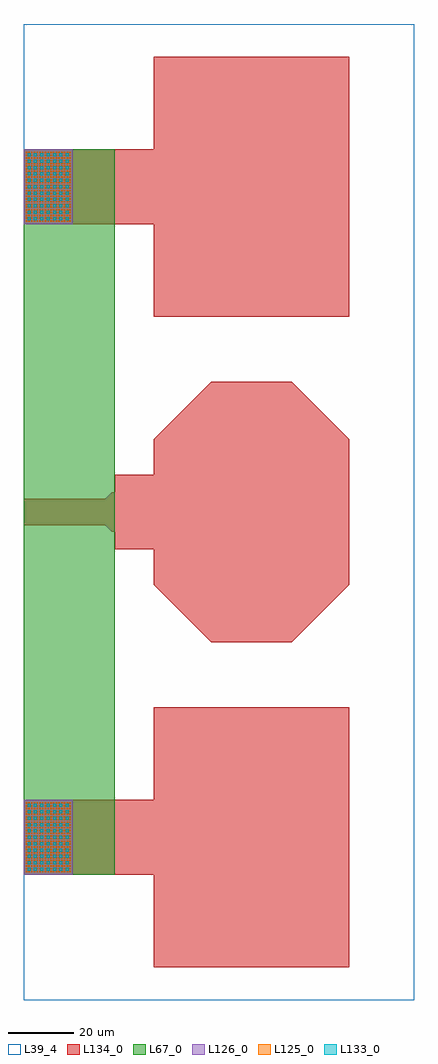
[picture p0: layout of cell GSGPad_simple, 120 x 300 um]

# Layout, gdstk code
import gdstk
lib = gdstk.Library(unit=1e-6, precision=1e-09)
def R(c, l, rs):  # rectangles x0, y0, x1, y1
    for r in rs: c.add(gdstk.rectangle(r[:2], r[2:], *l))
def A(c, l, x, y, w, h, nx, ny, dx, dy):  # array of equal rectangles
    R(c, l, [(x+i*dx, y+j*dy, x+i*dx+w, y+j*dy+h) for i in range(nx) for j in range(ny)])
def P(c, l, *ps):  # polygons
    for p in ps: c.add(gdstk.Polygon(p, *l))
L39_4 = (39, 4)
L67_0 = (67, 0)
L125_0 = (125, 0)
L126_0 = (126, 0)
L133_0 = (133, 0)
L134_0 = (134, 0)

gsgpad_simple = lib.new_cell('GSGPad_simple')
R(gsgpad_simple, L39_4, [(0,-150,120,150)])
R(gsgpad_simple, L67_0, [(0,-111.5,15,-88.5), (0,-111.5,27.995,111.5), (0,88.5,15,111.5)])
A(gsgpad_simple, L125_0, 0.57, -110.71, 0.42, 0.42, 17, 26, 0.84, 0.84)
A(gsgpad_simple, L125_0, 0.57, 89.29, 0.42, 0.42, 17, 26, 0.84, 0.84)
R(gsgpad_simple, L126_0, [(0,-111.5,15,-88.5), (0,-111.5,15,-88.5), (0,88.5,15,111.5), (0,88.5,15,111.5)])
A(gsgpad_simple, L133_0, 1.17, -110.25, 0.9, 0.9, 7, 11, 1.96, 1.96)
A(gsgpad_simple, L133_0, 1.17, 89.75, 0.9, 0.9, 7, 11, 1.96, 1.96)
R(gsgpad_simple, L134_0, [(39.995,-140,99.995,-60), (0,-111.5,15,-88.5), (15,-111.5,39.995,-88.5), (27.995,-11.5,39.99,11.5), (0,-4,24.995,4), (39.995,60,99.995,140), (0,88.5,15,111.5), (15,88.5,39.995,111.5)])
P(gsgpad_simple, L134_0, [(57.56,-40),(39.99,-22.43),(39.99,22.43),(57.56,40),(82.43,40),(100,22.43),(100,-22.43),(82.43,-40)],
  [(26.995,-6),(24.995,-4),(24.995,4),(26.995,6),(27.995,6),(27.995,-6)])

lib.write_gds('GSGPad_simple.gds')
